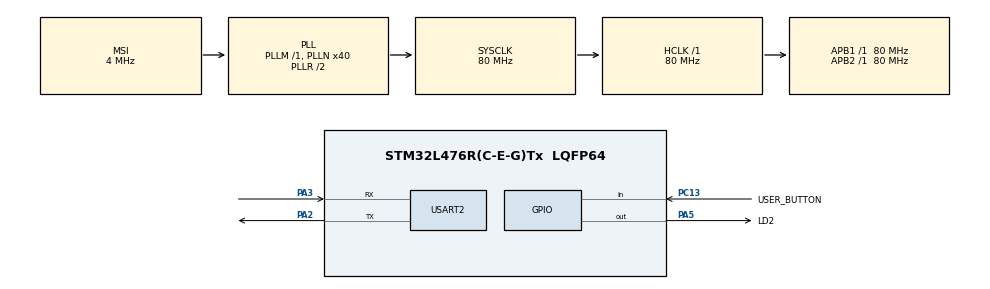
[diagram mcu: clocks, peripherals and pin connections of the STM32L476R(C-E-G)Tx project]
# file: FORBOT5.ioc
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IWDG.Prescaler=IWDG_PRESCALER_32
Mcu.Family=STM32L4
Mcu.Name=STM32L476R(C-E-G)Tx
Mcu.Package=LQFP64
NVIC.PriorityGroup=NVIC_PRIORITYGROUP_4
PA13\ (JTMS-SWDIO).Mode=Serial_Wire
PA13\ (JTMS-SWDIO).Signal=SYS_JTMS-SWDIO
PA14\ (JTCK-SWCLK).Mode=Serial_Wire
PA14\ (JTCK-SWCLK).Signal=SYS_JTCK-SWCLK
PA2.Mode=Asynchronous
PA2.Signal=USART2_TX
PA3.Mode=Asynchronous
PA3.Signal=USART2_RX
PA5.GPIO_Label=LD2
PA5.Signal=GPIO_Output
PC13.GPIO_Label=USER_BUTTON
PC13.Signal=GPIO_Input
PC14-OSC32_IN\ (PC14).Mode=LSE-External-Oscillator
PC14-OSC32_IN\ (PC14).Signal=RCC_OSC32_IN
PC15-OSC32_OUT\ (PC15).Mode=LSE-External-Oscillator
PC15-OSC32_OUT\ (PC15).Signal=RCC_OSC32_OUT
ProjectManager.HeapSize=0x200
ProjectManager.StackSize=0x400
ProjectManager.TargetToolchain=STM32CubeIDE
RCC.AHBFreq_Value=80000000
RCC.APB1Freq_Value=80000000
RCC.APB1TimFreq_Value=80000000
RCC.APB2Freq_Value=80000000
RCC.APB2TimFreq_Value=80000000
RCC.CortexFreq_Value=80000000
RCC.HCLKFreq_Value=80000000
RCC.HSE_VALUE=8000000
RCC.HSI_VALUE=16000000
RCC.MSI_VALUE=4000000
RCC.PLLN=40
RCC.RTCClockSelection=RCC_RTCCLKSOURCE_LSE
RCC.SYSCLKFreq_VALUE=80000000
RCC.SYSCLKSource=RCC_SYSCLKSOURCE_PLLCLK
RCC.VCOOutputFreq_Value=160000000
USART2.VirtualMode-Asynchronous=VM_ASYNC
VP_IWDG_VS_IWDG.Mode=IWDG_Activate
VP_RTC_VS_RTC_Activate.Mode=RTC_Enabled
board=custom

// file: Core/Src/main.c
/* USER CODE BEGIN Header */
/**
 ******************************************************************************
 * @file           : main.c
 * @brief          : Main program body
 ******************************************************************************
 * @attention
 *
 * Copyright (c) 2023 STMicroelectronics.
 * All rights reserved.
 *
 * This software is licensed under terms that can be found in the LICENSE file
 * in the root directory of this software component.
 * If no LICENSE file comes with this software, it is provided AS-IS.
 *
 ******************************************************************************
 */
/* USER CODE END Header */
#include "main.h"

/* USER CODE BEGIN Includes */
#include <stdio.h>
#include <string.h>
#include <stdbool.h>
/* USER CODE END Includes */

IWDG_HandleTypeDef hiwdg;

RTC_HandleTypeDef hrtc;

UART_HandleTypeDef huart2;

void SystemClock_Config(void);
static void MX_GPIO_Init(void);
static void MX_USART2_UART_Init(void);
static void MX_RTC_Init(void);
static void MX_IWDG_Init(void);

/* USER CODE BEGIN 0 */

int __io_putchar(int ch)
{
  if (ch == '\n')
  {
    uint8_t ch2 = '\r';
    HAL_UART_Transmit(&huart2, &ch2, 1, HAL_MAX_DELAY);
  }

  HAL_UART_Transmit(&huart2, (uint8_t *)&ch, 1, HAL_MAX_DELAY);
  return 1;
}

bool is_button_pressed(void)
{
  if (HAL_GPIO_ReadPin(USER_BUTTON_GPIO_Port, USER_BUTTON_Pin) == GPIO_PIN_RESET)
  {
    return true;
  }
  else
  {
    return false;
  }
}

/* USER CODE END 0 */

int main(void)
{

  /* MCU Configuration--------------------------------------------------------*/

  /* Reset of all peripherals, Initializes the Flash interface and the Systick. */
  HAL_Init();

  /* Configure the system clock */
  SystemClock_Config();

  /* Initialize all configured peripherals */
  MX_GPIO_Init();
  MX_USART2_UART_Init();
  MX_RTC_Init();
  MX_IWDG_Init();
  /* USER CODE BEGIN 2 */
  RTC_DateTypeDef today;
  today.Year = 23;
  today.Month = 11;
  today.Date = 19;
  today.WeekDay = RTC_WEEKDAY_TUESDAY;
  HAL_RTC_SetDate(&hrtc, &today, RTC_FORMAT_BIN);

  int i;

  for (i = 0; i < 10; i++)
  {
    HAL_GPIO_TogglePin(LD2_GPIO_Port, LD2_Pin);
    HAL_Delay(100);
  }

  uint32_t last_ms = HAL_GetTick();

  /* USER CODE END 2 */

  /* Infinite loop */
  /* USER CODE BEGIN WHILE */

  while (1)
  {

    uint32_t now = HAL_GetTick();
    if (is_button_pressed())
    {
      while (1)
      {
      }
    }

    if (now - last_ms >= 500)
    {
      HAL_GPIO_TogglePin(LD2_GPIO_Port, LD2_Pin);
      last_ms = now;

      HAL_IWDG_Refresh(&hiwdg);
    }
    /*

    RTC_TimeTypeDef time;
    RTC_DateTypeDef date;

    // jeśli naciśnięto przycisk
    if (is_button_pressed()) {
      // ważne: nieużywane pola muszą być wyzerowane
      RTC_TimeTypeDef new_time = {0};

      // czekamy na zwolnienie przycisku
      while (is_button_pressed()) {}

      // ustawiamy godzinę 07:45:00
      new_time.Hours = 7;
      new_time.Minutes = 45;
      new_time.Seconds = 0;
      HAL_RTC_SetTime(&hrtc, &new_time, RTC_FORMAT_BIN);
    }

    HAL_RTC_GetTime(&hrtc, &time, RTC_FORMAT_BIN);
    HAL_RTC_GetDate(&hrtc, &date, RTC_FORMAT_BIN);

    printf("RTC: %04d-%02d-%02d, %02d:%02d:%02d\n", 2000 + date.Year, date.Month, date.Date, time.Hours, time.Minutes, time.Seconds);

    HAL_Delay(200);

     */

    /* USER CODE END WHILE */

  }
}

void SystemClock_Config(void)
{
  RCC_OscInitTypeDef RCC_OscInitStruct = {0};
  RCC_ClkInitTypeDef RCC_ClkInitStruct = {0};

  /** Configure the main internal regulator output voltage
   */
  if (HAL_PWREx_ControlVoltageScaling(PWR_REGULATOR_VOLTAGE_SCALE1) != HAL_OK)
  {
    Error_Handler();
  }

  /** Configure LSE Drive Capability
   */
  HAL_PWR_EnableBkUpAccess();
  __HAL_RCC_LSEDRIVE_CONFIG(RCC_LSEDRIVE_LOW);

  /** Initializes the RCC Oscillators according to the specified parameters
   * in the RCC_OscInitTypeDef structure.
   */
  RCC_OscInitStruct.OscillatorType = RCC_OSCILLATORTYPE_LSI | RCC_OSCILLATORTYPE_LSE | RCC_OSCILLATORTYPE_MSI;
  RCC_OscInitStruct.LSEState = RCC_LSE_ON;
  RCC_OscInitStruct.LSIState = RCC_LSI_ON;
  RCC_OscInitStruct.MSIState = RCC_MSI_ON;
  RCC_OscInitStruct.MSICalibrationValue = 0;
  RCC_OscInitStruct.MSIClockRange = RCC_MSIRANGE_6;
  RCC_OscInitStruct.PLL.PLLState = RCC_PLL_ON;
  RCC_OscInitStruct.PLL.PLLSource = RCC_PLLSOURCE_MSI;
  RCC_OscInitStruct.PLL.PLLM = 1;
  RCC_OscInitStruct.PLL.PLLN = 40;
  RCC_OscInitStruct.PLL.PLLP = RCC_PLLP_DIV7;
  RCC_OscInitStruct.PLL.PLLQ = RCC_PLLQ_DIV2;
  RCC_OscInitStruct.PLL.PLLR = RCC_PLLR_DIV2;
  if (HAL_RCC_OscConfig(&RCC_OscInitStruct) != HAL_OK)
  {
    Error_Handler();
  }

  /** Initializes the CPU, AHB and APB buses clocks
   */
  RCC_ClkInitStruct.ClockType = RCC_CLOCKTYPE_HCLK | RCC_CLOCKTYPE_SYSCLK | RCC_CLOCKTYPE_PCLK1 | RCC_CLOCKTYPE_PCLK2;
  RCC_ClkInitStruct.SYSCLKSource = RCC_SYSCLKSOURCE_PLLCLK;
  RCC_ClkInitStruct.AHBCLKDivider = RCC_SYSCLK_DIV1;
  RCC_ClkInitStruct.APB1CLKDivider = RCC_HCLK_DIV1;
  RCC_ClkInitStruct.APB2CLKDivider = RCC_HCLK_DIV1;

  if (HAL_RCC_ClockConfig(&RCC_ClkInitStruct, FLASH_LATENCY_4) != HAL_OK)
  {
    Error_Handler();
  }

  /** Enable MSI Auto calibration
   */
  HAL_RCCEx_EnableMSIPLLMode();
}

static void MX_IWDG_Init(void)
{

  hiwdg.Instance = IWDG;
  hiwdg.Init.Prescaler = IWDG_PRESCALER_32;
  hiwdg.Init.Window = 4095;
  hiwdg.Init.Reload = 4095;
  if (HAL_IWDG_Init(&hiwdg) != HAL_OK)
  {
    Error_Handler();
  }
}

static void MX_RTC_Init(void)
{

  /** Initialize RTC Only
   */
  hrtc.Instance = RTC;
  hrtc.Init.HourFormat = RTC_HOURFORMAT_24;
  hrtc.Init.AsynchPrediv = 127;
  hrtc.Init.SynchPrediv = 255;
  hrtc.Init.OutPut = RTC_OUTPUT_DISABLE;
  hrtc.Init.OutPutRemap = RTC_OUTPUT_REMAP_NONE;
  hrtc.Init.OutPutPolarity = RTC_OUTPUT_POLARITY_HIGH;
  hrtc.Init.OutPutType = RTC_OUTPUT_TYPE_OPENDRAIN;
  if (HAL_RTC_Init(&hrtc) != HAL_OK)
  {
    Error_Handler();
  }
}

static void MX_USART2_UART_Init(void)
{

  huart2.Instance = USART2;
  huart2.Init.BaudRate = 115200;
  huart2.Init.WordLength = UART_WORDLENGTH_8B;
  huart2.Init.StopBits = UART_STOPBITS_1;
  huart2.Init.Parity = UART_PARITY_NONE;
  huart2.Init.Mode = UART_MODE_TX_RX;
  huart2.Init.HwFlowCtl = UART_HWCONTROL_NONE;
  huart2.Init.OverSampling = UART_OVERSAMPLING_16;
  huart2.Init.OneBitSampling = UART_ONE_BIT_SAMPLE_DISABLE;
  huart2.AdvancedInit.AdvFeatureInit = UART_ADVFEATURE_NO_INIT;
  if (HAL_UART_Init(&huart2) != HAL_OK)
  {
    Error_Handler();
  }
}

static void MX_GPIO_Init(void)
{
  GPIO_InitTypeDef GPIO_InitStruct = {0};

  /* GPIO Ports Clock Enable */
  __HAL_RCC_GPIOC_CLK_ENABLE();
  __HAL_RCC_GPIOA_CLK_ENABLE();

  /*Configure GPIO pin Output Level */
  HAL_GPIO_WritePin(LD2_GPIO_Port, LD2_Pin, GPIO_PIN_RESET);

  /*Configure GPIO pin : USER_BUTTON_Pin */
  GPIO_InitStruct.Pin = USER_BUTTON_Pin;
  GPIO_InitStruct.Mode = GPIO_MODE_INPUT;
  GPIO_InitStruct.Pull = GPIO_NOPULL;
  HAL_GPIO_Init(USER_BUTTON_GPIO_Port, &GPIO_InitStruct);

  /*Configure GPIO pin : LD2_Pin */
  GPIO_InitStruct.Pin = LD2_Pin;
  GPIO_InitStruct.Mode = GPIO_MODE_OUTPUT_PP;
  GPIO_InitStruct.Pull = GPIO_NOPULL;
  GPIO_InitStruct.Speed = GPIO_SPEED_FREQ_LOW;
  HAL_GPIO_Init(LD2_GPIO_Port, &GPIO_InitStruct);

}

void Error_Handler(void)
{
  __disable_irq();
  while (1)
  {
  }
}
